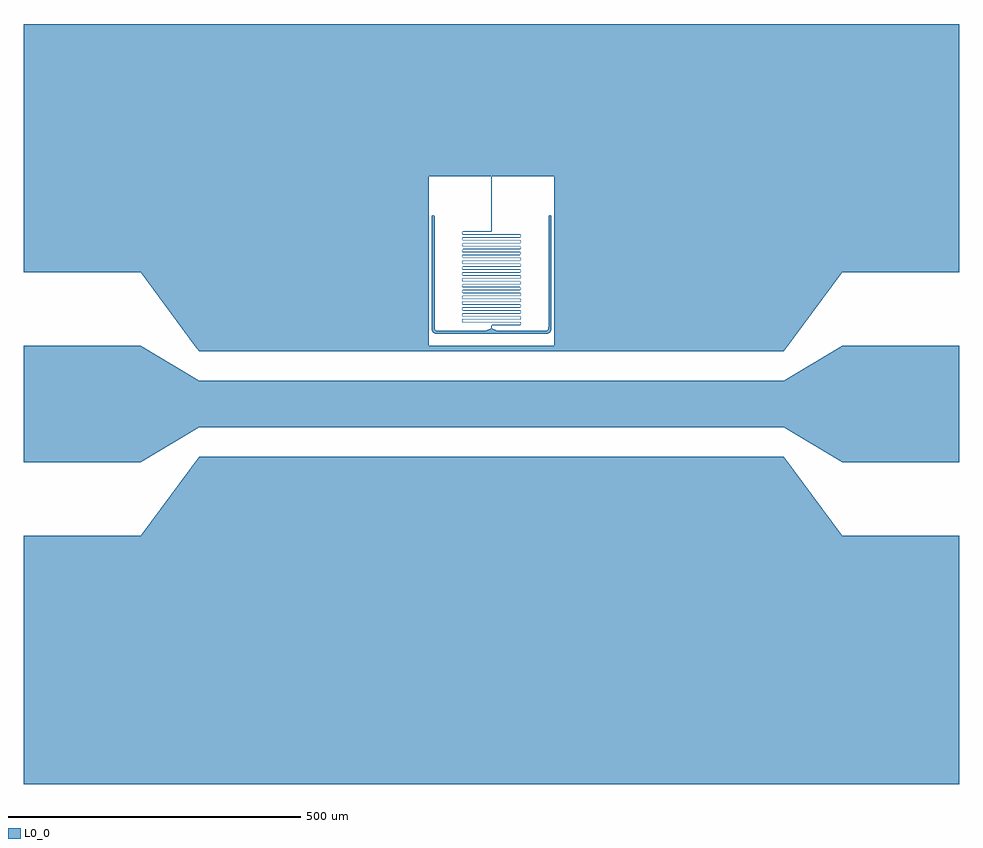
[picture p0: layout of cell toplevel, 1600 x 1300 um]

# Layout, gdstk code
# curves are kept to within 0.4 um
import gdstk
lib = gdstk.Library(unit=1e-6, precision=1e-09)
def P(c, l, *ps):  # polygons
    for p in ps: c.add(gdstk.Polygon(p, *l))
L0_0 = (0, 0)

toplevel = lib.new_cell('toplevel')
P(toplevel, L0_0, [(600,225),(800,225),(800,650),(-800,650),(-800,225),(-600,225),(-507.407,100),(-107.5,100),(-107.5,390),(107.5,390),(107.5,100),(-507.407,100),(-500,90),(500,90)],
  [(800,-650),(800,-225),(600,-225),(500,-90),(-500,-90),(-600,-225),(-800,-225),(-800,-650)],
  [(-100.109,322.498),(-101.768,321.768),(-102.5,320),(-102.5,131.406),(-101.9,126.281),(-99.754,122.653),(-96.439,120.671),(-91.738,120.005),(91.14,120),(96.274,120.617),(99.847,122.746),(101.865,126.171),(102.498,131.041),(102.5,320),(101.768,321.768),(100.541,322.441),(99.043,322.31),(97.502,320.109),(97.499,131.164),(97.218,128.096),(96.265,126.235),(94.404,125.282),(91.336,125.001),(-91.125,125),(-94.217,125.238),(-96.045,126.038),(-97.07,127.598),(-97.476,130.116),(-97.5,320),(-98.232,321.768)],
  [(0.25,130),(0.307,133.912),(0.64,134.492),(1.342,134.733),(48.976,134.809),(49.52,135.013),(49.917,135.374),(50.247,136.555),(50.144,139.16),(49.776,139.791),(49.14,140.15),(-48.496,140.255),(-49.365,140.513),(-49.721,141.24),(-49.711,143.822),(-49.512,144.333),(-49.124,144.627),(-48.191,144.75),(48.556,144.758),(49.695,145.136),(50.028,145.554),(50.209,146.121),(50.193,148.966),(49.917,149.626),(49.418,150.042),(48.209,150.25),(-48.496,150.255),(-49.344,150.496),(-49.71,151.171),(-49.724,153.737),(-49.571,154.24),(-49.27,154.554),(-48.208,154.75),(48.556,154.758),(49.661,155.109),(50.193,156.034),(50.213,158.85),(50.003,159.492),(49.6,159.935),(49.024,160.18),(48.236,160.25),(-48.496,160.255),(-49.333,160.488),(-49.701,161.125),(-49.732,163.666),(-49.365,164.487),(-48.226,164.75),(48.556,164.758),(49.644,165.096),(50.183,165.986),(50.224,168.773),(50.052,169.399),(49.711,169.85),(49.102,170.161),(48.245,170.25),(-48.446,170.253),(-49.202,170.409),(-49.61,170.836),(-49.75,173.13),(-49.698,173.89),(-49.479,174.376),(-49.063,174.65),(-48.421,174.747),(48.335,174.751),(49.583,175.053),(49.959,175.435),(50.18,175.976),(50.248,178.408),(50.105,179.276),(49.547,179.971),(48.546,180.243),(-48.294,180.25),(-49.264,180.443),(-49.691,181.081),(-49.659,184.035),(-49.276,184.55),(-48.512,184.744),(48.326,184.751),(49.574,185.047),(49.953,185.426),(50.176,185.957),(50.248,188.399),(50.105,189.276),(49.547,189.971),(48.546,190.243),(-48.286,190.25),(-49.258,190.439),(-49.688,191.066),(-49.662,194.028),(-49.282,194.547),(-48.512,194.744),(48.326,194.751),(49.565,195.041),(49.941,195.409),(50.171,195.937),(50.248,198.38),(50.108,199.266),(49.547,199.971),(48.546,200.243),(-48.286,200.25),(-49.252,200.435),(-49.684,201.051),(-49.662,204.028),(-49.282,204.547),(-48.512,204.744),(48.326,204.751),(49.547,205.029),(49.929,205.391),(50.164,205.908),(50.249,208.362),(50.108,209.266),(49.547,209.971),(48.546,210.243),(-48.286,210.25),(-49.24,210.429),(-49.678,211.029),(-49.664,214.021),(-49.282,214.547),(-48.512,214.744),(48.326,214.751),(49.547,215.029),(49.923,215.382),(50.158,215.889),(50.249,218.344),(50.112,219.256),(49.547,219.971),(48.546,220.243),(-48.286,220.25),(-49.233,220.425),(-49.672,221.008),(-49.664,224.021),(-49.282,224.547),(-48.512,224.744),(48.317,224.751),(49.529,225.018),(49.91,225.365),(50.15,225.86),(50.249,228.317),(50.112,229.256),(49.547,229.971),(48.546,230.243),(-48.286,230.25),(-49.221,230.419),(-49.666,230.986),(-49.664,234.021),(-49.282,234.547),(-48.504,234.744),(48.317,234.751),(49.52,235.013),(50.141,235.831),(50.25,238.29),(50.115,239.247),(49.556,239.965),(48.546,240.243),(-48.277,240.25),(-49.215,240.415),(-49.659,240.965),(-49.666,244.014),(-49.282,244.547),(-48.504,244.744),(48.317,244.751),(49.501,245.002),(50.129,245.792),(50.25,248.227),(50.119,249.237),(49.556,249.965),(48.546,250.243),(-48.277,250.25),(-49.202,250.409),(-49.65,250.937),(-49.668,254.007),(-49.287,254.543),(-48.504,254.744),(48.308,254.751),(49.483,254.992),(50.115,255.753),(50.25,256.791),(50.122,259.227),(49.565,259.959),(48.546,260.243),(-48.277,260.25),(-49.19,260.402),(-49.643,260.917),(-49.75,261.714),(-49.668,264.007),(-49.287,264.543),(-48.504,264.744),(48.308,264.751),(49.465,264.982),(50.101,265.715),(50.25,266.719),(50.125,269.218),(49.565,269.959),(48.546,270.243),(-48.269,270.25),(-49.17,270.393),(-49.63,270.883),(-49.749,271.672),(-49.67,273.999),(-49.287,274.543),(-48.504,274.744),(48.308,274.751),(49.446,274.972),(50.085,275.677),(50.249,276.674),(50.129,279.208),(49.574,279.953),(48.546,280.243),(-48.269,280.25),(-49.157,280.387),(-49.616,280.849),(-49.748,281.629),(-49.674,283.985),(-49.293,284.539),(-48.504,284.744),(48.299,284.751),(49.418,284.958),(50.065,285.629),(50.248,286.62),(50.132,289.198),(49.574,289.953),(48.546,290.243),(-48.26,290.25),(-49.137,290.379),(-49.601,290.817),(-49.747,291.579),(-49.688,293.934),(-49.355,294.496),(-48.65,294.734),(-1.629,294.751),(-0.582,294.958),(0.038,295.573),(0.25,296.782),(0.25,390),(-0.25,390),(-0.25,296.8),(-0.409,295.798),(-0.856,295.382),(-1.68,295.251),(-48.726,295.229),(-49.661,294.891),(-50.153,294.131),(-50.247,291.565),(-50.052,290.601),(-49.409,289.953),(-48.299,289.751),(48.504,289.744),(49.293,289.539),(49.674,288.985),(49.748,286.621),(49.61,285.836),(49.151,285.384),(48.269,285.25),(-48.546,285.243),(-49.574,284.953),(-50.132,284.198),(-50.249,281.638),(-50.073,280.648),(-49.427,279.962),(-48.299,279.751),(48.504,279.744),(49.293,279.539),(49.672,278.992),(49.749,276.655),(49.624,275.869),(49.164,275.39),(48.269,275.25),(-48.546,275.243),(-49.565,274.959),(-50.125,274.218),(-50.249,271.701),(-50.093,270.696),(-49.455,269.977),(-48.308,269.751),(48.504,269.744),(49.287,269.543),(49.67,268.999),(49.749,266.68),(49.635,265.896),(49.177,265.396),(48.269,265.25),(-48.546,265.243),(-49.565,264.959),(-50.122,264.227),(-50.25,261.755),(-50.108,260.734),(-49.474,259.987),(-48.308,259.751),(48.504,259.744),(49.287,259.543),(49.668,259.007),(49.648,255.93),(49.196,255.406),(48.277,255.25),(-48.546,255.243),(-49.556,254.965),(-50.119,254.237),(-50.25,253.183),(-50.122,250.773),(-49.492,249.997),(-48.317,249.751),(48.504,249.744),(49.282,249.547),(49.666,249.014),(49.655,245.951),(49.209,245.412),(48.277,245.25),(-48.546,245.243),(-49.556,244.965),(-50.115,244.247),(-50.25,243.263),(-50.135,240.811),(-49.51,240.007),(-48.317,239.751),(48.504,239.744),(49.282,239.547),(49.666,239.014),(49.664,235.979),(49.221,235.419),(48.277,235.25),(-48.546,235.243),(-49.556,234.965),(-50.115,234.247),(-50.249,233.299),(-50.144,230.84),(-49.52,230.013),(-48.317,229.751),(48.504,229.744),(49.282,229.547),(49.664,229.021),(49.67,226.001),(49.227,225.422),(48.286,225.25),(-48.546,225.243),(-49.547,224.971),(-50.112,224.256),(-50.249,223.326),(-50.153,220.869),(-49.917,220.374),(-49.538,220.024),(-48.326,219.751),(48.504,219.744),(49.276,219.55),(49.662,219.028),(49.677,216.022),(49.24,215.429),(48.286,215.25),(-48.546,215.243),(-49.547,214.971),(-50.112,214.256),(-50.249,213.344),(-50.161,210.898),(-49.929,210.391),(-49.547,210.029),(-48.326,209.751),(48.512,209.744),(49.282,209.547),(49.662,209.028),(49.68,206.037),(49.246,205.432),(48.286,205.25),(-48.546,205.243),(-49.547,204.971),(-50.108,204.266),(-50.249,203.371),(-50.169,200.927),(-49.935,200.4),(-49.556,200.035),(-48.326,199.751),(48.512,199.744),(49.282,199.547),(49.662,199.028),(49.686,196.058),(49.252,195.435),(48.286,195.25),(-48.546,195.243),(-49.547,194.971),(-50.105,194.276),(-50.248,193.39),(-50.174,190.947),(-49.947,190.417),(-49.565,190.041),(-48.326,189.751),(48.512,189.744),(49.276,189.55),(49.659,189.035),(49.69,186.073),(49.258,185.439),(48.294,185.25),(-48.546,185.243),(-49.547,184.971),(-50.105,184.276),(-50.248,183.399),(-50.178,180.966),(-49.953,180.426),(-49.574,180.047),(-48.326,179.751),(48.512,179.744),(49.276,179.55),(49.659,179.035),(49.693,176.088),(49.264,175.443),(48.294,175.25),(-48.445,175.247),(-49.276,175.105),(-49.85,174.711),(-50.169,174.073),(-50.25,173.13),(-50.234,171.331),(-50.028,170.554),(-49.446,169.972),(-48.481,169.754),(48.226,169.75),(48.927,169.69),(49.386,169.47),(49.734,168.65),(49.7,166.118),(49.327,165.484),(48.496,165.255),(-48.245,165.25),(-49.082,165.166),(-49.678,164.878),(-50.038,164.427),(-50.22,163.802),(-50.185,160.995),(-49.652,160.102),(-48.556,159.758),(48.217,159.75),(49.322,159.52),(49.594,159.196),(49.729,158.698),(49.706,156.148),(49.338,155.492),(48.496,155.255),(-48.227,155.25),(-49.52,154.987),(-49.965,154.556),(-50.204,153.908),(-50.2,151.073),(-49.678,150.122),(-48.556,149.758),(48.2,149.75),(49.202,149.591),(49.543,149.287),(49.719,148.776),(49.715,146.201),(49.355,145.504),(48.496,145.255),(-48.201,145.25),(-49.295,145.097),(-49.864,144.695),(-50.178,144.034),(-50.217,141.179),(-50.042,140.582),(-49.711,140.15),(-49.218,139.875),(-48.556,139.758),(49.014,139.666),(49.462,139.396),(49.696,138.897),(49.737,136.382),(49.439,135.58),(48.65,135.266),(1.044,135.195),(0.248,134.814),(-0.171,134.063),(-0.25,130)],
  [(10,125),(0.25,130),(-0.25,130),(-10,125)],
  [(-500,40),(-600,100),(-800,100),(-800,-100),(-600,-100),(-500,-40),(500,-40),(600,-100),(800,-100),(800,100),(600,100),(500,40)])

lib.write_gds('toplevel.gds')
